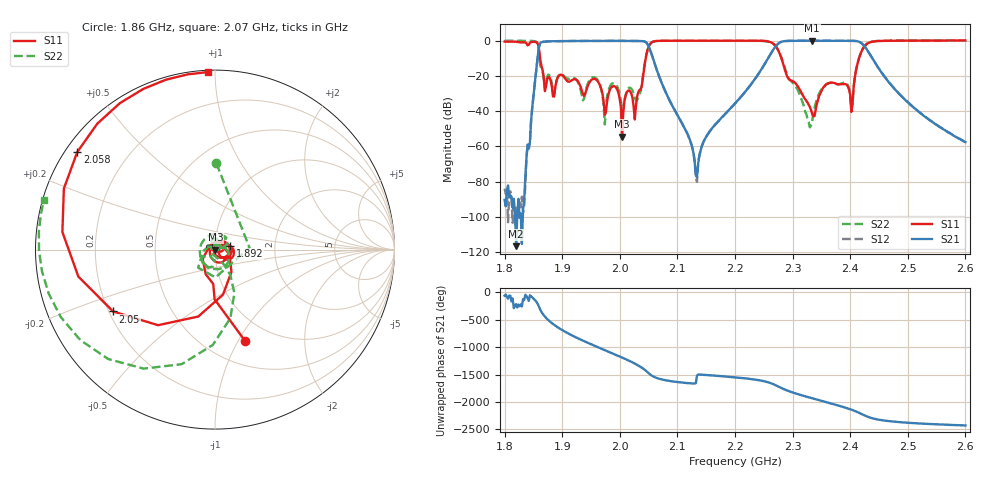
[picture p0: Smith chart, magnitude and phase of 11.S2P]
!Agilent Technologies,E5071C,MY46107869,A.09.30
!Date: Fri Nov 28 14:32:04 2014
!Data & Calibration Information:
!Freq	S11:SOLT2(ON)	S21:SOLT2(ON)	S12:SOLT2(ON)	S22:SOLT2(ON)
# Hz S dB R 50
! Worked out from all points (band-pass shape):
!   401 points, 1.8 GHz to 2.6 GHz, reference 50 ohm
!   highest |S21| = -0.05 dB at 2.334 GHz (marker M1); lowest = -116.6 dB at 1.82 GHz (marker M2)
!   |S21| within 3 dB of the highest: 1.86 GHz to 2.05 GHz (189.9 MHz wide, 9.72 % of centre); 2.271 GHz to 2.425 GHz (153.5 MHz wide, 6.54 % of centre)
!   lowest |S11| = -54.4 dB at 2.004 GHz (marker M3), VSWR 1.00, Z = 50.2 + j0.052 ohm
!   |S11| at or under -10 dB: 1.862 GHz to 2.045 GHz (183.4 MHz wide, 9.39 % of centre); 2.281 GHz to 2.415 GHz (134.7 MHz wide, 5.74 % of centre)
!   |S22| runs from -49.2 to 0.1 dB; largest |S21 - S12| = 0.009
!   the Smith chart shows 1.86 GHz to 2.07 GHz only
!   S11 on the Smith chart (normalised r, x): 1.86 GHz: 0.75, -1.07; 1.892 GHz: 1.19, +0.05; 2.05 GHz: 0.22, -0.27; 2.058 GHz: 0.03, +0.32; 2.07 GHz: 0.01, +0.96
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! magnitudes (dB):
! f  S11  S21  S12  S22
! 1.8 GHz  -0.5  -90.4  -84.0  0.0
! 1.82 GHz  -0.6  -116.6  -94.4  0.0
! 1.834 GHz  -1.0  -90.1  -93.8  0.0
! 1.86 GHz  -5.4  -3.0  -3.1  -6.4
! 1.892 GHz  -21.1  -0.3  -0.3  -21.0
! 1.934 GHz  -28.3  -0.1  -0.1  -31.1
! 1.99 GHz  -25.8  -0.1  -0.1  -24.2
! 2.004 GHz  -54.4  -0.1  -0.1  -39.8
! 2.032 GHz  -29.3  -0.2  -0.2  -32.2
! 2.05 GHz  -3.6  -3.1  -3.1  -3.5
! 2.058 GHz  -0.5  -10.5  -10.5  -0.6
! 2.068 GHz  -0.1  -20.1  -20.0  -0.1
! 2.07 GHz  -0.1  -21.8  -21.7  -0.1
! 2.132 GHz  0.0  -76.3  -77.2  0.0
! 2.2 GHz  0.0  -35.6  -35.7  0.0
! 2.268 GHz  -2.2  -4.4  -4.4  -2.2
! 2.334 GHz  -41.7  0.0  -0.1  -45.5
! 2.358 GHz  -24.9  -0.1  -0.1  -24.8
! 2.402 GHz  -40.5  -0.1  -0.1  -39.4
! 2.416 GHz  -9.3  -0.7  -0.8  -9.1
! 2.468 GHz  -0.1  -24.0  -23.8  0.0
! 2.6 GHz  0.1  -57.6  -57.3  0.1
